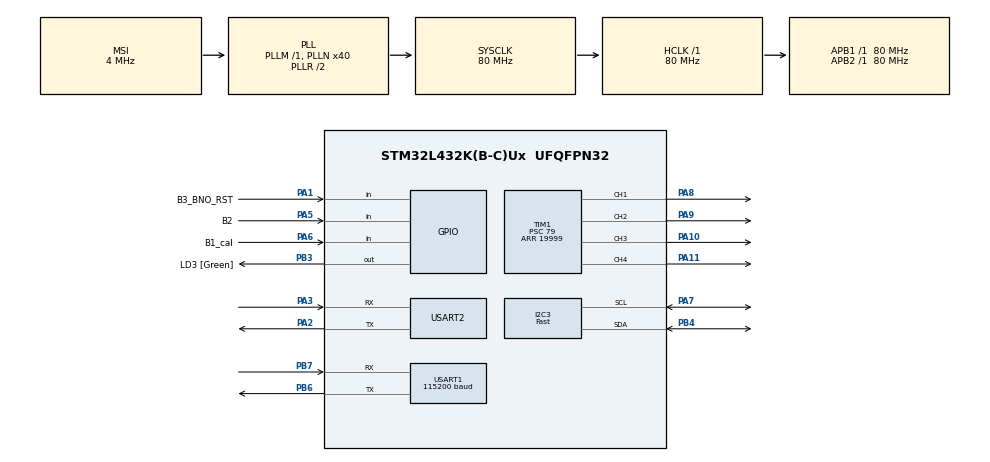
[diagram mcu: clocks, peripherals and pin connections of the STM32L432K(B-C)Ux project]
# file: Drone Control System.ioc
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Dma.Request0=USART1_RX
Dma.USART1_RX.0.Direction=DMA_PERIPH_TO_MEMORY
Dma.USART1_RX.0.Instance=DMA1_Channel5
Dma.USART1_RX.0.MemDataAlignment=DMA_MDATAALIGN_BYTE
Dma.USART1_RX.0.MemInc=DMA_MINC_ENABLE
Dma.USART1_RX.0.Mode=DMA_CIRCULAR
Dma.USART1_RX.0.PeriphDataAlignment=DMA_PDATAALIGN_BYTE
Dma.USART1_RX.0.PeriphInc=DMA_PINC_DISABLE
Dma.USART1_RX.0.Priority=DMA_PRIORITY_HIGH
I2C3.I2C_Speed_Mode=I2C_Fast
I2C3.Timing=0x00F12981
Mcu.Family=STM32L4
Mcu.Name=STM32L432K(B-C)Ux
Mcu.Package=UFQFPN32
NVIC.DMA1_Channel5_IRQn=true\:0\:0\:false\:false\:true\:false\:true\:true
NVIC.PriorityGroup=NVIC_PRIORITYGROUP_4
NVIC.TIM6_DAC_IRQn=true\:0\:0\:false\:false\:true\:true\:true\:true
NVIC.USART1_IRQn=true\:0\:0\:false\:false\:true\:true\:true\:true
PA0.GPIO_Label=MCO [High speed clock in]
PA0.Mode=HSE-External-Clock-Source-for-LittleOrca
PA0.Signal=RCC_CK_IN
PA1.GPIO_Label=B3_BNO_RST
PA1.GPIO_PuPd=GPIO_PULLUP
PA1.Signal=GPIO_Input
PA10.Signal=S_TIM1_CH3
PA11.Signal=S_TIM1_CH4
PA13\ (JTMS-SWDIO).GPIO_Label=SWDIO
PA13\ (JTMS-SWDIO).Mode=Serial_Wire
PA13\ (JTMS-SWDIO).Signal=SYS_JTMS-SWDIO
PA14\ (JTCK-SWCLK).GPIO_Label=SWCLK
PA14\ (JTCK-SWCLK).Mode=Serial_Wire
PA14\ (JTCK-SWCLK).Signal=SYS_JTCK-SWCLK
PA2.Mode=Asynchronous
PA2.Signal=USART2_TX
PA3.Mode=Asynchronous
PA3.Signal=USART2_RX
PA5.GPIO_Label=B2
PA5.GPIO_PuPd=GPIO_PULLUP
PA5.Signal=GPIO_Input
PA6.GPIO_Label=B1_cal
PA6.GPIO_PuPd=GPIO_PULLUP
PA6.Signal=GPIO_Input
PA7.Mode=I2C
PA7.Signal=I2C3_SCL
PA8.Signal=S_TIM1_CH1
PA9.Signal=S_TIM1_CH2
PB3\ (JTDO-TRACESWO).GPIO_Label=LD3 [Green]
PB3\ (JTDO-TRACESWO).Signal=GPIO_Output
PB4\ (NJTRST).Mode=I2C
PB4\ (NJTRST).Signal=I2C3_SDA
PB6.Mode=Asynchronous
PB6.Signal=USART1_TX
PB7.Mode=Asynchronous
PB7.Signal=USART1_RX
PC14-OSC32_IN\ (PC14).Mode=LSE-External-Oscillator
PC14-OSC32_IN\ (PC14).Signal=RCC_OSC32_IN
PC15-OSC32_OUT\ (PC15).Mode=LSE-External-Oscillator
PC15-OSC32_OUT\ (PC15).Signal=RCC_OSC32_OUT
ProjectManager.HeapSize=0x200
ProjectManager.StackSize=0x400
ProjectManager.TargetToolchain=STM32CubeIDE
RCC.AHBFreq_Value=80000000
RCC.APB1Freq_Value=80000000
RCC.APB1TimFreq_Value=80000000
RCC.APB2Freq_Value=80000000
RCC.APB2TimFreq_Value=80000000
RCC.CortexFreq_Value=80000000
RCC.HCLKFreq_Value=80000000
RCC.HSE_VALUE=8000000
RCC.HSI16_VALUE=16000000
RCC.HSI48_VALUE=48000000
RCC.HSI_VALUE=16000000
RCC.MSI_VALUE=4000000
RCC.PLLMUL=RCC_PLLMUL_4
RCC.PLLN=40
RCC.SYSCLKFreq_VALUE=80000000
RCC.SYSCLKSource=RCC_SYSCLKSOURCE_PLLCLK
RCC.VCOOutputFreq_Value=160000000
SH.S_TIM1_CH1.0=TIM1_CH1,PWM Generation1 CH1
SH.S_TIM1_CH2.0=TIM1_CH2,PWM Generation2 CH2
SH.S_TIM1_CH3.0=TIM1_CH3,PWM Generation3 CH3
SH.S_TIM1_CH4.0=TIM1_CH4,PWM Generation4 CH4
TIM1.Channel-PWM\ Generation1\ CH1=TIM_CHANNEL_1
TIM1.Channel-PWM\ Generation2\ CH2=TIM_CHANNEL_2
TIM1.Channel-PWM\ Generation3\ CH3=TIM_CHANNEL_3
TIM1.Channel-PWM\ Generation4\ CH4=TIM_CHANNEL_4
TIM1.Period=19999
TIM1.Prescaler=79
TIM1.Pulse-PWM\ Generation1\ CH1=0
TIM1.Pulse-PWM\ Generation2\ CH2=0
TIM1.Pulse-PWM\ Generation3\ CH3=0
TIM6.AutoReloadPreload=TIM_AUTORELOAD_PRELOAD_ENABLE
TIM6.Period=49
TIM6.Prescaler=7999
USART1.BaudRate=115200
USART1.DataInvertParam=ADVFEATURE_DATAINV_DISABLE
USART1.Mode=MODE_RX
USART1.VirtualMode-Asynchronous=VM_ASYNC
USART2.VirtualMode-Asynchronous=VM_ASYNC
VP_TIM1_VS_ClockSourceINT.Mode=Internal
VP_TIM6_VS_ClockSourceINT.Mode=Enable_Timer
board=NUCLEO-L432KC

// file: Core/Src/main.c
/* USER CODE BEGIN Header */
/**
  ******************************************************************************
  * @file           : main.c
  * @brief          : Main program body
  ******************************************************************************
  * @attention
  *
  * Copyright (c) 2025 STMicroelectronics.
  * All rights reserved.
  *
  * This software is licensed under terms that can be found in the LICENSE file
  * in the root directory of this software component.
  * If no LICENSE file comes with this software, it is provided AS-IS.
  *
  ******************************************************************************
  */
/* USER CODE END Header */
#include "main.h"
#include "dma.h"
#include "i2c.h"
#include "tim.h"
#include "usart.h"
#include "gpio.h"

/* USER CODE BEGIN Includes */
#include "motors.h"
#include "ibus.h"
#include "bno055.h"
#include "pid.h"
#include "bno055_stm32.h"
#include <stdio.h>
#include <stdbool.h>

extern UART_HandleTypeDef huart2;
/* USER CODE END Includes */

/* USER CODE BEGIN PTD */
typedef struct {
    uint16_t roll;
    uint16_t pitch;
    uint16_t throttle;
    uint16_t yaw;
    uint16_t arm;
} rc_t;

typedef struct {
    float y;
    uint8_t initialized;
} LPF_t;
/* USER CODE END PTD */

/* USER CODE BEGIN PV */
volatile uint8_t control_loop_flag = 0; // flaga dla TIM6
volatile rc_t rc;

#define CTRL_DT 0.005f // 200 Hz

// Kanały iBUS są indeksowane od zera:
// CH1 -> 0, CH2 -> 1, CH3 -> 2, CH4 -> 3, CH5 -> 4 itd.
// Ustaw tutaj kanał, na którym realnie masz SWD.
#define RC_CH_ROLL      0   // CH1
#define RC_CH_PITCH     1   // CH2
#define RC_CH_THROTTLE  2   // CH3
#define RC_CH_YAW       3   // CH4
#define RC_CH_ARM       4   // CH5

#define RC_DEADBAND        0.05f

#define RC_ROLL_SIGN       -1.0f
#define RC_PITCH_SIGN      -1.0f
#define RC_YAW_SIGN         1.0f

#define MAX_ANGLE_DEG      25.0f
#define MAX_ROLL_RATE_DPS  160.0f
#define MAX_PITCH_RATE_DPS 160.0f
#define MAX_YAW_RATE_DPS   80.0f

#define GYRO_LPF_ALPHA     0.2f

#define ARM_OFF_US         1300u
#define ARM_ON_US          1700u
#define THROTTLE_LOW_US    1050u

#define RC_MIN_VALID_US     900u
#define RC_MAX_VALID_US    2100u

#define DEBUG_UART          1

static PID_t pid_roll_angle;
static PID_t pid_pitch_angle;
static PID_t pid_roll_rate;
static PID_t pid_pitch_rate;
static PID_t pid_yaw_rate;

static LPF_t lpf_roll_rate;
static LPF_t lpf_pitch_rate;
static LPF_t lpf_yaw_rate;

static bool flight_armed = false;
static bool arm_switch_was_down = false;

// Nastawy startowe. Na pierwsze próby zostaw Ki=0 i Kd=0.
volatile float dbg_angle_Kp = 1.6f;
volatile float dbg_angle_Ki = 0.0f;
volatile float dbg_angle_Kd = 0.001f;

volatile float dbg_rate_Kp = 0.25f;
volatile float dbg_rate_Ki = 0.0f;
volatile float dbg_rate_Kd = 0.001f;
/* USER CODE END PV */

void SystemClock_Config(void);

/* USER CODE BEGIN 0 */
static inline float clampf(float x, float lo, float hi)
{
    if (x < lo) return lo;
    if (x > hi) return hi;
    return x;
}

static inline uint16_t clampu16(uint16_t x, uint16_t lo, uint16_t hi)
{
    if (x < lo) return lo;
    if (x > hi) return hi;
    return x;
}

static inline float apply_deadband(float x, float db)
{
    if (x > -db && x < db) return 0.0f;

    // Przeskalowanie po deadbandzie, żeby zakres dalej kończył się na -1..1.
    if (x > 0.0f) return (x - db) / (1.0f - db);
    return (x + db) / (1.0f - db);
}

static inline float rc_us_to_norm(uint16_t us)
{
    float x = ((float)us - 1500.0f) / 500.0f;
    return clampf(x, -1.0f, 1.0f);
}

static bool rc_value_valid(uint16_t us)
{
    return (us >= RC_MIN_VALID_US && us <= RC_MAX_VALID_US);
}

static bool rc_channels_valid(const rc_t *r)
{
    return rc_value_valid(r->roll) &&
           rc_value_valid(r->pitch) &&
           rc_value_valid(r->throttle) &&
           rc_value_valid(r->yaw) &&
           rc_value_valid(r->arm);
}

static float lpf_update(LPF_t *f, float x, float alpha)
{
    if (!f->initialized)
    {
        f->y = x;
        f->initialized = 1;
        return f->y;
    }

    f->y = f->y + alpha * (x - f->y);
    return f->y;
}

static void reset_all_pids(void)
{
    PID_Reset(&pid_roll_angle);
    PID_Reset(&pid_pitch_angle);
    PID_Reset(&pid_roll_rate);
    PID_Reset(&pid_pitch_rate);
    PID_Reset(&pid_yaw_rate);
}

static void disarm_now(void)
{
    flight_armed = false;
    reset_all_pids();
    motors_stop_all();
}
/* USER CODE END 0 */

int main(void)
{

  /* MCU Configuration--------------------------------------------------------*/

  /* Reset of all peripherals, Initializes the Flash interface and the Systick. */
  HAL_Init();

  /* Configure the system clock */
  SystemClock_Config();

  /* Initialize all configured peripherals */
  MX_GPIO_Init();
  MX_DMA_Init();
  MX_TIM1_Init();
  MX_TIM6_Init();
  MX_USART1_UART_Init();
  MX_I2C3_Init();
  MX_USART2_UART_Init();
  /* USER CODE BEGIN 2 */
HAL_TIM_Base_Start_IT(&htim6);
  ibus_init();
  bno055_assignI2C(&hi2c3);

  bno055_setup();
  bno055_setOperationModeConfig();
  bno055_enableExternalCrystal();

  // Do pierwszych lotów: fusion acc + gyro, bez magnetometru.
  bno055_setOperationMode(BNO055_OPERATION_MODE_IMU);
  HAL_Delay(100);

  PID_Init(&pid_roll_angle,  dbg_angle_Kp, dbg_angle_Ki, dbg_angle_Kd,
           -MAX_ROLL_RATE_DPS,  MAX_ROLL_RATE_DPS,  -50.0f, 50.0f);

  PID_Init(&pid_pitch_angle, dbg_angle_Kp, dbg_angle_Ki, dbg_angle_Kd,
           -MAX_PITCH_RATE_DPS, MAX_PITCH_RATE_DPS, -50.0f, 50.0f);

  PID_Init(&pid_roll_rate,   dbg_rate_Kp, dbg_rate_Ki, dbg_rate_Kd,
           -250.0f, 250.0f, -80.0f, 80.0f);

  PID_Init(&pid_pitch_rate,  dbg_rate_Kp, dbg_rate_Ki, dbg_rate_Kd,
           -250.0f, 250.0f, -80.0f, 80.0f);

  PID_Init(&pid_yaw_rate,    0.25f, 0.0f, 0.0f,
           -150.0f, 150.0f, -50.0f, 50.0f);

  HAL_TIM_PWM_Start(&htim1, TIM_CHANNEL_1);
  HAL_TIM_PWM_Start(&htim1, TIM_CHANNEL_2);
  HAL_TIM_PWM_Start(&htim1, TIM_CHANNEL_3);
  HAL_TIM_PWM_Start(&htim1, TIM_CHANNEL_4);

  motors_stop_all();

  // Jeśli trzymasz przycisk przy starcie -> kalibracja ESC.
  // UWAGA: śmigła zdjęte.
  if (HAL_GPIO_ReadPin(B1_cal_GPIO_Port, B1_cal_Pin) == GPIO_PIN_RESET)
  {
      HAL_Delay(4000);
      esc_calibrate_all();

      while (1)
      {
          HAL_GPIO_TogglePin(LD3_GPIO_Port, LD3_Pin);
          HAL_Delay(50);
      }
  }

  // Czekaj na pierwsze poprawne ramki iBUS, ale NIE armuj automatycznie.
  uint32_t t0 = HAL_GetTick();
  while (!ibus_is_signal_present())
  {
      ibus_process();

      if (HAL_GetTick() - t0 > 200)
      {
          t0 = HAL_GetTick();
          HAL_GPIO_TogglePin(LD3_GPIO_Port, LD3_Pin);
      }

      motors_stop_all();
  }

  // Wymuszamy, żeby przed pierwszym ARM przełącznik był widziany w pozycji DISARM.
  arm_switch_was_down = false;
  flight_armed = false;
  motors_stop_all();
/* USER CODE END 2 */

  /* Infinite loop */
  /* USER CODE BEGIN WHILE */
static uint16_t led_counter = 0;

  while (1)
  {
      // Czekaj na flagę z TIM6, czyli 200 Hz.
      if (!control_loop_flag)
          continue;

      control_loop_flag = 0;

      led_counter++;
      if (led_counter >= 200)
      {
          led_counter = 0;
          HAL_GPIO_TogglePin(LD3_GPIO_Port, LD3_Pin);
      }

      ibus_process();

      rc_t rc_now;
      rc_now.roll     = ibus_read_channel(RC_CH_ROLL);
      rc_now.pitch    = ibus_read_channel(RC_CH_PITCH);
      rc_now.throttle = ibus_read_channel(RC_CH_THROTTLE);
      rc_now.yaw      = ibus_read_channel(RC_CH_YAW);
      rc_now.arm      = ibus_read_channel(RC_CH_ARM);

      // Kopia globalna tylko do podglądu w debuggerze.
      rc = rc_now;

      bool signal_ok       = ibus_is_signal_present();
      bool channels_ok     = rc_channels_valid(&rc_now);
      bool throttle_low    = rc_now.throttle < THROTTLE_LOW_US;
      bool arm_switch_off  = rc_now.arm < ARM_OFF_US;
      bool arm_switch_on   = rc_now.arm > ARM_ON_US;

      // Warstwa bezpieczeństwa STM32: brak ramek, złe kanały albo SWD w dół = DISARM.
      if (!signal_ok || !channels_ok)
      {
          arm_switch_was_down = false;
          disarm_now();
          continue;
      }

      if (arm_switch_off)
      {
          arm_switch_was_down = true;
          disarm_now();
          continue;
      }

      // SWD góra rozpoczyna armowanie, ale tylko po wcześniejszym stanie DISARM
      // i tylko gdy gaz jest na minimum.
      if (!flight_armed && arm_switch_was_down && arm_switch_on && throttle_low)
      {
          flight_armed = true;
          reset_all_pids();
      }

      if (!flight_armed)
      {
          motors_stop_all();
          reset_all_pids();
          continue;
      }

      // Dron jest ARMED, ale gaz nadal minimalny: silniki stop, PID wyzerowany.
      // Później możesz tu zrobić idle, np. 1050..1080 us, ale na start bezpieczniej stop.
      if (throttle_low)
      {
          motors_stop_all();
          reset_all_pids();
          continue;
      }

      uint16_t throttle_us = clampu16(rc_now.throttle, MOTOR_MIN_US, MOTOR_MAX_US);

      // Wejścia pilota: 1000..2000 us -> -1..1 + deadband.
      float roll_in  = apply_deadband(rc_us_to_norm(rc_now.roll),  RC_DEADBAND);
      float pitch_in = apply_deadband(rc_us_to_norm(rc_now.pitch), RC_DEADBAND);
      float yaw_in   = apply_deadband(rc_us_to_norm(rc_now.yaw),   RC_DEADBAND);

      float roll_angle_sp  = RC_ROLL_SIGN  * roll_in  * MAX_ANGLE_DEG;
      float pitch_angle_sp = RC_PITCH_SIGN * pitch_in * MAX_ANGLE_DEG;
      float yaw_rate_sp    = RC_YAW_SIGN   * yaw_in   * MAX_YAW_RATE_DPS;

      // BNO055: fused Euler do pętli angle + gyro do pętli rate.
      bno055_vector_t euler = bno055_getVectorEuler();
      bno055_vector_t gyro  = bno055_getVectorGyroscope();

      // Mapowanie osi według Twojego obecnego ustawienia.
      // Te znaki KONIECZNIE sprawdź bez śmigieł.
      float roll_angle_meas  =  (float)euler.y;
      float pitch_angle_meas = -(float)euler.z;

      float roll_rate_meas  =  (float)gyro.y;
      float pitch_rate_meas = -(float)gyro.z;
      float yaw_rate_meas   =  (float)gyro.x;

      // Filtruj gyro PRZED PID rate, nie po PID.
      roll_rate_meas  = lpf_update(&lpf_roll_rate,  roll_rate_meas,  GYRO_LPF_ALPHA);
      pitch_rate_meas = lpf_update(&lpf_pitch_rate, pitch_rate_meas, GYRO_LPF_ALPHA);
      yaw_rate_meas   = lpf_update(&lpf_yaw_rate,   yaw_rate_meas,   GYRO_LPF_ALPHA);

      // Pętla zewnętrzna ANGLE: wynik to zadana prędkość kątowa.
      float roll_rate_sp = PID_Update(&pid_roll_angle,
                                      roll_angle_sp,
                                      roll_angle_meas,
                                      CTRL_DT);

      float pitch_rate_sp = PID_Update(&pid_pitch_angle,
                                       pitch_angle_sp,
                                       pitch_angle_meas,
                                       CTRL_DT);

      // Pętla wewnętrzna RATE: wynik to korekta PWM do miksera.
      float u_roll = PID_Update(&pid_roll_rate,
                                roll_rate_sp,
                                roll_rate_meas,
                                CTRL_DT);

      float u_pitch = PID_Update(&pid_pitch_rate,
                                 pitch_rate_sp,
                                 pitch_rate_meas,
                                 CTRL_DT);

      float u_yaw = PID_Update(&pid_yaw_rate,
                               yaw_rate_sp,
                               yaw_rate_meas,
                               CTRL_DT);

//#if DEBUG_UART
//      static uint8_t uart_div = 0;
//      uart_div++;
//      if (uart_div >= 40) // 200 Hz / 40 = 5 Hz
//      {
//          uart_div = 0;
//          printf("ARM=%u THR=%u R=%.1f P=%.1f GR=%.1f GP=%.1f U=%.1f %.1f %.1f\r\n",
//                 (unsigned)flight_armed,
//                 (unsigned)throttle_us,
//                 (double)roll_angle_meas,
//                 (double)pitch_angle_meas,
//                 (double)roll_rate_meas,
//                 (double)pitch_rate_meas,
//                 (double)u_roll,
//                 (double)u_pitch,
//                 (double)u_yaw);
//      }
//#endif

      mixer_update(u_roll, u_pitch, u_yaw, throttle_us);
  }
/* USER CODE END WHILE */

}

void SystemClock_Config(void)
{
  RCC_OscInitTypeDef RCC_OscInitStruct = {0};
  RCC_ClkInitTypeDef RCC_ClkInitStruct = {0};

  /** Configure the main internal regulator output voltage
  */
  if (HAL_PWREx_ControlVoltageScaling(PWR_REGULATOR_VOLTAGE_SCALE1) != HAL_OK)
  {
    Error_Handler();
  }

  /** Configure LSE Drive Capability
  */
  HAL_PWR_EnableBkUpAccess();
  __HAL_RCC_LSEDRIVE_CONFIG(RCC_LSEDRIVE_LOW);

  /** Initializes the RCC Oscillators according to the specified parameters
  * in the RCC_OscInitTypeDef structure.
  */
  RCC_OscInitStruct.OscillatorType = RCC_OSCILLATORTYPE_LSE|RCC_OSCILLATORTYPE_MSI;
  RCC_OscInitStruct.LSEState = RCC_LSE_ON;
  RCC_OscInitStruct.MSIState = RCC_MSI_ON;
  RCC_OscInitStruct.MSICalibrationValue = 0;
  RCC_OscInitStruct.MSIClockRange = RCC_MSIRANGE_6;
  RCC_OscInitStruct.PLL.PLLState = RCC_PLL_ON;
  RCC_OscInitStruct.PLL.PLLSource = RCC_PLLSOURCE_MSI;
  RCC_OscInitStruct.PLL.PLLM = 1;
  RCC_OscInitStruct.PLL.PLLN = 40;
  RCC_OscInitStruct.PLL.PLLP = RCC_PLLP_DIV7;
  RCC_OscInitStruct.PLL.PLLQ = RCC_PLLQ_DIV2;
  RCC_OscInitStruct.PLL.PLLR = RCC_PLLR_DIV2;
  if (HAL_RCC_OscConfig(&RCC_OscInitStruct) != HAL_OK)
  {
    Error_Handler();
  }

  /** Initializes the CPU, AHB and APB buses clocks
  */
  RCC_ClkInitStruct.ClockType = RCC_CLOCKTYPE_HCLK|RCC_CLOCKTYPE_SYSCLK
                              |RCC_CLOCKTYPE_PCLK1|RCC_CLOCKTYPE_PCLK2;
  RCC_ClkInitStruct.SYSCLKSource = RCC_SYSCLKSOURCE_PLLCLK;
  RCC_ClkInitStruct.AHBCLKDivider = RCC_SYSCLK_DIV1;
  RCC_ClkInitStruct.APB1CLKDivider = RCC_HCLK_DIV1;
  RCC_ClkInitStruct.APB2CLKDivider = RCC_HCLK_DIV1;

  if (HAL_RCC_ClockConfig(&RCC_ClkInitStruct, FLASH_LATENCY_4) != HAL_OK)
  {
    Error_Handler();
  }

  /** Enable MSI Auto calibration
  */
  HAL_RCCEx_EnableMSIPLLMode();
}

/* USER CODE BEGIN 4 */
void HAL_TIM_PeriodElapsedCallback(TIM_HandleTypeDef *htim)
{
    if (htim->Instance == TIM6)
    {
        control_loop_flag = 1;   // flaga dla pętli głównej
    }
}

// obsluga uart2 - odczyt na serial porcie
int _write(int file, char *ptr, int len)
{
    HAL_UART_Transmit(&huart2, (uint8_t*)ptr, len, HAL_MAX_DELAY);
    return len;
}

/* USER CODE END 4 */

void Error_Handler(void)
{
  __disable_irq();
  while (1)
  {
  }
}
